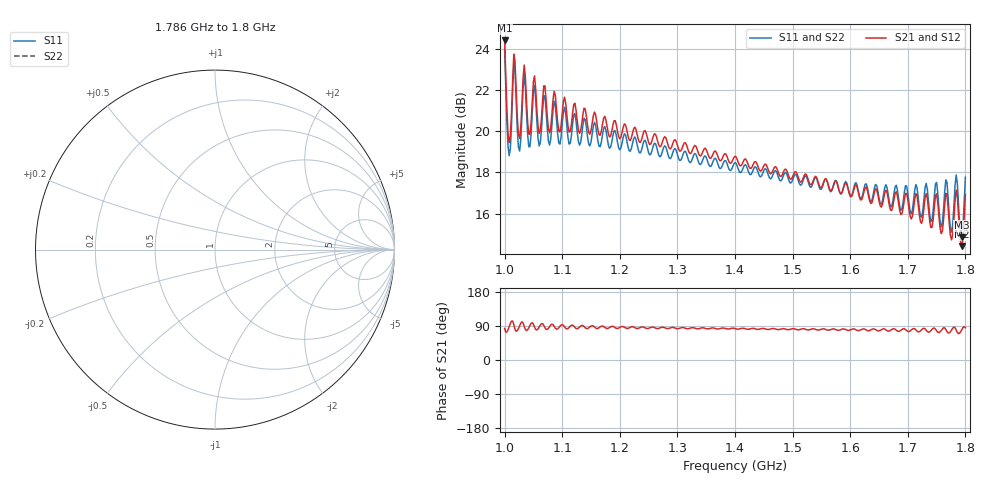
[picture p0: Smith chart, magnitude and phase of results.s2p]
! rfsim (KiCad + openEMS)
# HZ S RI R 50
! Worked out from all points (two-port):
!   401 points, 1 GHz to 1.8 GHz, reference 50 ohm
!   highest |S21| = 24.41 dB at 1 GHz (marker M1); lowest = 14.4 dB at 1.794 GHz (marker M2)
!   |S21| within 3 dB of the highest: 1.013 GHz to 1.021 GHz (8.215 MHz wide, 0.808 % of centre); 1.03 GHz to 1.038 GHz (7.802 MHz wide, 0.754 % of centre) (the widest 2 of 7)
!   lowest |S11| = 14.8 dB at 1.794 GHz (marker M3)
!   |S11| at or under -10 dB: nowhere
!   |S22| runs from 14.9 to 23.8 dB; largest |S21 - S12| = 0.32
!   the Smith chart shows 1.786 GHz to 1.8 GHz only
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1e9  -5.983 14.64  1.996 16.5  1.843 16.21  -5.979 14.32
1.006e9  -3.018 8.666  1.727 9.701  1.679 9.798  -3.105 8.727
1.01e9  -5.461 7.269  -1.117 9.675  -1.074 9.773  -5.471 7.373
1.014e9  -8.609 9.216  -2.908 12.98  -2.72 12.96  -8.436 9.285
1.018e9  -5.053 13.14  2.248 14.67  2.104 14.51  -5.1 12.93
1.022e9  -2.959 9.672  2.385 10.54  2.302 10.61  -3.064 9.691
1.026e9  -4.578 7.698  -0.0205 9.616  -0.0111 9.702  -4.612 7.775
1.034e9  -6.902 11.88  0.1272 14.48  0.1382 14.31  -6.806 11.74
1.042e9  -4.039 8.235  0.828 9.807  0.8101 9.881  -4.091 8.288
1.046e9  -6.082 7.741  -1.189 10.43  -1.126 10.49  -6.058 7.822
1.052e9  -6.075 11.39  0.7581 13.61  0.73 13.48  -6.035 11.26
1.06e9  -4.411 8.085  0.5397 9.86  0.5334 9.924  -4.448 8.136
1.068e9  -6.756 10.16  -0.3399 12.9  -0.294 12.81  -6.671 10.11
1.078e9  -4.711 7.971  0.3342 9.911  0.3376 9.966  -4.736 8.019
1.086e9  -6.248 10.04  0.1811 12.51  0.1968 12.43  -6.193 9.983
1.134e9  -5.773 7.944  -0.2109 10.44  -0.1734 10.45  -5.748 7.974
1.268e9  -4.829 7.271  1.01 9.179  1.003 9.192  -4.842 7.277
1.4e9  -5.185 6.604  1.064 8.632  1.064 8.621  -5.177 6.597
1.534e9  -5.003 5.437  1.03 7.401  1.039 7.406  -5.001 5.448
1.668e9  -4.468 5.035  1.53 6.421  1.518 6.433  -4.488 5.032
1.794e9  -4.302 3.463  0.8508 5.19  0.8657 5.225  -4.326 3.502
1.8e9  -6.322 4.455  0.5986 6.998  0.6408 6.94  -6.234 4.458
